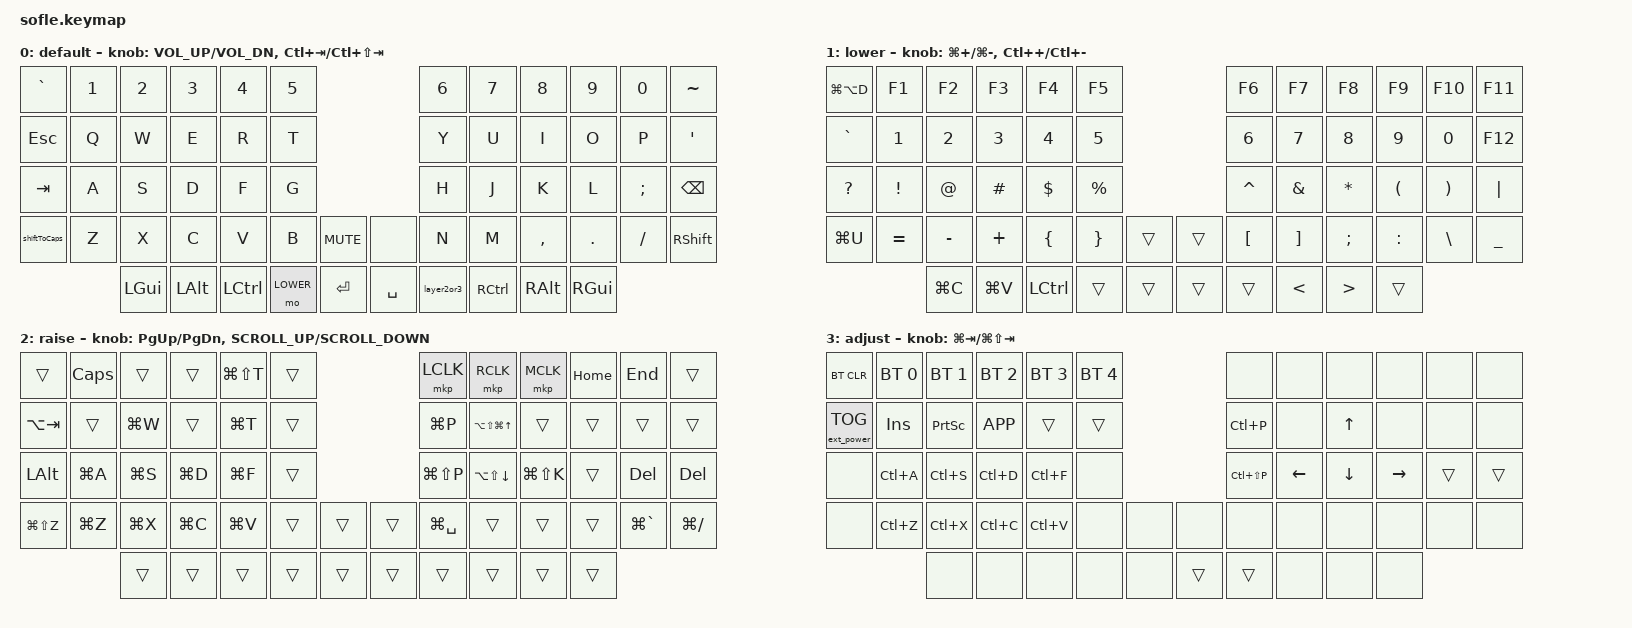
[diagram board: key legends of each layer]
/*
 * Copyright (c) 2020 The ZMK Contributors
 *
 * SPDX-License-Identifier: MIT
 */

#include <behaviors.dtsi>
#include <dt-bindings/zmk/bt.h>
#include <dt-bindings/zmk/ext_power.h>
#include <dt-bindings/zmk/keys.h>
#include <dt-bindings/zmk/pointing.h>

#define BASE 0
#define LOWER 1
#define RAISE 2
#define ADJUST 3

/ {
    // Activate ADJUST layer by pressing raise and lower

    conditional_layers { compatible = "zmk,conditional-layers"; };

    combos {
        compatible = "zmk,combos";

        exclamation {
            bindings = <&kp EXCLAMATION>;
            key-positions = <13 25>;
        };

        at_sign {
            bindings = <&kp AT_SIGN>;
            key-positions = <14 26>;
        };

        hash {
            bindings = <&kp POUND>;
            key-positions = <15 27>;
        };

        dollar {
            bindings = <&kp DOLLAR>;
            key-positions = <16 28>;
        };

        percent {
            bindings = <&kp PERCENT>;
            key-positions = <17 29>;
        };

        caret {
            bindings = <&kp CARET>;
            key-positions = <18 30>;
        };

        ampersand {
            bindings = <&kp AMPERSAND>;
            key-positions = <19 31>;
        };

        asterisc {
            bindings = <&kp ASTERISK>;
            key-positions = <20 32>;
        };

        left_parent {
            bindings = <&kp LEFT_PARENTHESIS>;
            key-positions = <21 33>;
        };

        right_parent {
            bindings = <&kp RIGHT_PARENTHESIS>;
            key-positions = <22 34>;
        };
    };

    behaviors {
        shiftToCaps: shiftToCaps {
            compatible = "zmk,behavior-tap-dance";
            label = "SHIFTTOCAPS";
            #binding-cells = <0>;
            bindings = <&kp LEFT_SHIFT>, <&kp CAPSLOCK>;

            tapping-term-ms = <200>;
        };

        layer2or3: layer2or3 {
            compatible = "zmk,behavior-tap-dance";
            label = "LAYER2OR3";
            #binding-cells = <0>;
            bindings = <&mo 2>, <&mo 3>;

            tapping-term-ms = <500>;
        };
    };

    keymap {
        compatible = "zmk,keymap";

        default_layer {
            display-name = "default";

            // ------------------------------------------------------------------------------------------------------------
            // |   `   |  1  |  2  |  3   |  4   |  5   |                   |  6   |  7    |  8    |  9   |   0   |       |
            // |  ESC  |  Q  |  W  |  E   |  R   |  T   |                   |  Y   |  U    |  I    |  O   |   P   | BKSPC |
            // |  TAB  |  A  |  S  |  D   |  F   |  G   |                   |  H   |  J    |  K    |  L   |   ;   |   '   |
            // | SHIFT |  Z  |  X  |  C   |  V   |  B   |  MUTE  |  |       |  N   |  M    |  ,    |  .   |   /   | SHIFT |
            //               | GUI | ALT  | CTRL | LOWER|  ENTER |  | SPACE | RAISE| CTRL  | ALT   | GUI  |

            bindings = <
&kp GRAVE     &kp N1  &kp N2        &kp N3    &kp N4            &kp N5                              &kp N6      &kp N7     &kp N8     &kp N9    &kp N0    &kp TILDE
&kp ESC       &kp Q   &kp W         &kp E     &kp R             &kp T                               &kp Y       &kp U      &kp I      &kp O     &kp P     &kp APOS
&kp TAB       &kp A   &kp S         &kp D     &kp F             &kp G                               &kp H       &kp J      &kp K      &kp L     &kp SEMI  &kp BACKSPACE
&shiftToCaps  &kp Z   &kp X         &kp C     &kp V             &kp B      &kp C_MUTE    &none      &kp N       &kp M      &kp COMMA  &kp DOT   &kp FSLH  &kp RSHFT
                      &kp LEFT_GUI  &kp LALT  &kp LEFT_CONTROL  &mo LOWER  &kp RET       &kp SPACE  &layer2or3  &kp RCTRL  &kp RALT   &kp RGUI
            >;

            sensor-bindings =
                <&inc_dec_kp C_VOL_UP C_VOL_DN>,
                <&inc_dec_kp LC(TAB) LC(LS(TAB))>;
        };

        lower_layer {
            display-name = "lower";

            // TODO: Some binds are waiting for shifted keycode support.
            // ------------------------------------------------------------------------------------------------------------
            // |       |  F1 |  F2 |  F3  |  F4  |  F5  |                   |  F6  |  F7   |  F8   |  F9  |  F10  |  F11  |
            // |   `   |  1  |  2  |  3   |  4   |  5   |                   |  6   |  7    |  8    |  9   |   0   |  F12  |
            // |       |  !  |  @  |  #   |  $   |  %   |                   |  ^   |  &    |  *    |  (   |   )   |   |   |
            // |       |  =  |  -  |  +   |  {   |  }   |        |  |       |  [   |  ]    |  ;    |  :   |   \   |       |
            //               |     |      |      |      |        |  |       |      |       |       |      |

            bindings = <
&kp LG(LA(D))  &kp F1     &kp F2     &kp F3     &kp F4            &kp F5                       &kp F6     &kp F7         &kp F8            &kp F9     &kp F10   &kp F11
&kp GRAVE      &kp N1     &kp N2     &kp N3     &kp N4            &kp N5                       &kp N6     &kp N7         &kp N8            &kp N9     &kp N0    &kp F12
&kp QUESTION   &kp EXCL   &kp AT     &kp HASH   &kp DLLR          &kp PRCNT                    &kp CARET  &kp AMPS       &kp ASTRK         &kp LPAR   &kp RPAR  &kp PIPE
&kp LG(U)      &kp EQUAL  &kp MINUS  &kp PLUS   &kp LBRC          &kp RBRC   &trans    &trans  &kp LBKT   &kp RBKT       &kp SEMI          &kp COLON  &kp BSLH  &kp UNDERSCORE
                          &kp LG(C)  &kp LG(V)  &kp LEFT_CONTROL  &trans     &trans    &trans  &trans     &kp LESS_THAN  &kp GREATER_THAN  &trans
            >;

            sensor-bindings =
                <&inc_dec_kp LG(PLUS) LG(MINUS)>,
                <&inc_dec_kp LC(PLUS) LC(MINUS)>;
        };

        raise_layer {
            display-name = "raise";

            // ------------------------------------------------------------------------------------------------------------
            // | BTCLR | BT1  | BT2  |  BT3  |  BT4  |  BT5 |                |      |      |       |      |       |       |
            // |       | INS  | PSCR | GUI   |       |      |                | PGUP |      |   ^   |      |       |       |
            // |       | ALT  | CTRL | SHIFT |       | CAPS |                | PGDN |   <- |   v   |  ->  |  DEL  | BKSPC |
            // |       | UNDO | CUT  | COPY  | PASTE |      |      |  |      |      |      |       |      |       |       |
            //                |      |       |       |      |      |  |      |      |      |       |      |

            bindings = <
&trans         &kp CAPSLOCK  &trans     &trans     &kp LG(LS(T))  &trans                    &mkp LCLK      &mkp RCLK                 &mkp MCLK      &kp HOME  &kp END        &trans
&kp LA(TAB)    &trans        &kp LG(W)  &trans     &kp LG(T)      &trans                    &kp LG(P)      &kp LA(LS(LG(UP_ARROW)))  &trans         &trans    &trans         &trans
&kp LALT       &kp LG(A)     &kp LG(S)  &kp LG(D)  &kp LG(F)      &trans                    &kp LG(LS(P))  &kp LA(LS(DOWN_ARROW))    &kp LG(LS(K))  &trans    &kp DEL        &kp DELETE
&kp LG(LS(Z))  &kp LG(Z)     &kp LG(X)  &kp LG(C)  &kp LG(V)      &trans  &trans    &trans  &kp LG(SPACE)  &trans                    &trans         &trans    &kp LG(GRAVE)  &kp LG(SLASH)
                             &trans     &trans     &trans         &trans  &trans    &trans  &trans         &trans                    &trans         &trans
            >;

            sensor-bindings =
                <&inc_dec_kp PAGE_UP PAGE_DOWN>,
                <&inc_dec_kp K_SCROLL_UP K_SCROLL_DOWN>;
        };

        adjust_layer {
            // ----------------------------------------------------------------------------------------------------------------------------
            // | BTCLR  |  BT1    |  BT2    |   BT3   |   BT4   |   BT5   |                  |      |      |       |      |       |       |
            // | EXTPWR | RGB_HUD | RGB_HUI | RGB_SAD | RGB_SAI | RGB_EFF |                  |      |      |       |      |       |       |
            // |        | RGB_BRD | RGB_BRI |         |         |         |                  |      |      |       |      |       |       |
            // |        |         |         |         |         |         | RGB_TOG | |      |      |      |       |      |       |       |
            //                    |         |         |         |         |         | |      |      |      |       |      |

            display-name = "adjust";
            bindings = <
&bt BT_CLR         &bt BT_SEL 0  &bt BT_SEL 1     &bt BT_SEL 2  &bt BT_SEL 3  &bt BT_SEL 4                   &none          &none           &none           &none            &none   &none
&ext_power EP_TOG  &kp INS       &kp PRINTSCREEN  &kp K_APP     &trans        &trans                         &kp LC(P)      &none           &kp UP_ARROW    &none            &none   &none
&none              &kp LC(A)     &kp LC(S)        &kp LC(D)     &kp LC(F)     &none                          &kp LC(LS(P))  &kp LEFT_ARROW  &kp DOWN_ARROW  &kp RIGHT_ARROW  &trans  &trans
&none              &kp LC(Z)     &kp LC(X)        &kp LC(C)     &kp LC(V)     &none         &none    &none   &none          &none           &none           &none            &none   &none
                                 &none            &none         &none         &none         &none    &trans  &trans         &none           &none           &none
            >;

            sensor-bindings = <&inc_dec_kp LG(TAB) LG(LS(TAB))>;
        };
    };
};
